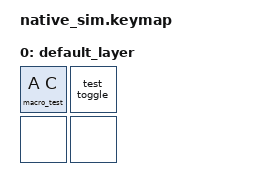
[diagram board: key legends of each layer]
#include <dt-bindings/zmk/keys.h>
#include <dt-bindings/zmk/layout_shift.h>
#include <behaviors.dtsi>
#include <dt-bindings/zmk/kscan_mock.h>
#include <layout_shift.dtsi>

&kscan {
    events = <
        ZMK_MOCK_PRESS(0,1,10)
        ZMK_MOCK_RELEASE(0,1,10)
        ZMK_MOCK_PRESS(0,0,10)
        ZMK_MOCK_RELEASE(0,0,10)
    >;
};

/ {
    test_map: test_map {
        compatible = "zmk,layout-shift-map";
        mappings = <
            A B LAYOUT_SHIFT_OPTIONAL_ALL
            C D LAYOUT_SHIFT_OPTIONAL_ALL
        >;
    };

    macros {
        macro_test: macro_test {
            compatible = "zmk,behavior-macro-two-param";
            #binding-cells = <2>;
            wait-ms = <0>;
            tap-ms = <0>;
            bindings = <
                &macro_press
                &macro_param_1to1 &kpls MACRO_PLACEHOLDER
                &macro_param_2to1 &kpls MACRO_PLACEHOLDER
                &macro_pause_for_release
                &macro_release
                &macro_param_2to1 &kpls MACRO_PLACEHOLDER
                &macro_param_1to1 &kpls MACRO_PLACEHOLDER
            >;
        };
    };

    behaviors {
        test_toggle: test_toggle {
            compatible = "zmk,behavior-layout-shift-toggle";
            #binding-cells = <0>;
            toggle-mode = "on";
            layout-maps = <&test_map>;
        };
    };

    keymap {
        compatible = "zmk,keymap";

        default_layer {
            bindings = <
                &macro_test A C &test_toggle
                &none &none
            >;
        };
    };
};
